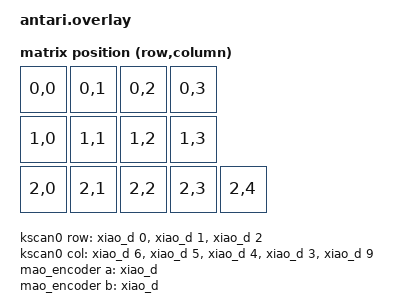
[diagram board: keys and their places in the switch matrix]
/*
 * Copyright (c) 2020 The ZMK Contributors
 *
 * SPDX-License-Identifier: MIT
 */

#include <dt-bindings/zmk/matrix_transform.h>
#include <dt-bindings/led/led.h>


/ {
	chosen {
		zmk,kscan = &kscan0;
		zmk,led-widgets-dev = &leds_i;
		zmk,matrix_transform = &default_transform;
	};


	default_transform: keymap_transform_0 {
		compatible = "zmk,matrix-transform";
		columns = <5>;
		rows = <3>;
	
		map = <
RC(0,0) RC(0,1) RC(0,2) RC(0,3)  
RC(1,0) RC(1,1) RC(1,2) RC(1,3)  
RC(2,0) RC(2,1) RC(2,2) RC(2,3) RC(2,4) 
		>;
	};

	kscan0: kscan_0 {
		compatible = "zmk,kscan-gpio-matrix";
		label = "KSCAN";
		diode-direction = "col2row";
		debounce-press-ms = <1>;
		debounce-release-ms = <5>;
		
		col-gpios
			= <&xiao_d 6 GPIO_ACTIVE_HIGH>
			, <&xiao_d 5 GPIO_ACTIVE_HIGH>
			, <&xiao_d 4 GPIO_ACTIVE_HIGH>
			, <&xiao_d 3 GPIO_ACTIVE_HIGH>
			, <&xiao_d 9 GPIO_ACTIVE_HIGH>
			;
		
		row-gpios
			= <&xiao_d 0 (GPIO_ACTIVE_HIGH | GPIO_PULL_DOWN)>
			, <&xiao_d 1 (GPIO_ACTIVE_HIGH | GPIO_PULL_DOWN)>
			, <&xiao_d 2 (GPIO_ACTIVE_HIGH | GPIO_PULL_DOWN)>
			;
	};
   mao_encoder: mao_encoder {
     compatible = "alps,ec11";
     label = "mao encoder";
     a-gpios = <&xiao_d 7(GPIO_ACTIVE_HIGH | GPIO_PULL_UP)>;
     b-gpios = <&xiao_d 8(GPIO_ACTIVE_HIGH | GPIO_PULL_UP)>;
     steps = <80>;
     status = "disabled";
   };


   sensors {
     compatible = "zmk,keymap-sensors";
     sensors = <&mao_encoder>;
     triggers-per-rotation = <20>;
   };
   leds_i: leds_i {
     compatible = "pwm-leds";
     label = "leds layers";
     blue_led: led_b {
       pwms = <&pwm0 26 PWM_MSEC(20) PWM_POLARITY_NORMAL>;
       label = "red";
     };
     green_led: led_g {
       pwms = <&pwm0 30 PWM_MSEC(20) PWM_POLARITY_NORMAL>;
       label = "green";
     };
     red_led: led_r {
       pwms = <&pwm0 6 PWM_MSEC(20) PWM_POLARITY_NORMAL>;
       label = "blue";
     };
   };
  led-widgets {
        compatible = "zmk,led-widgets";
        boot {
            boot {
                priority = <100>;
                blue { len-ms = <100>; brightness = <0 0 50>; };
                off { len-ms = <100>; };
                blue2 { len-ms = <100>; brightness = <0 0 50>; };
            };
        };
        layer {
            lower {
                arg = <1>;
                priority = <20>;
                stat { brightness = <20 0 20>; };
            };
            raise {
                arg = <2>;
                priority = <20>;
                stat { brightness = <0 20 0>; };
            };
            adjust {
                arg = <3>;
                priority = <20>;
                stat { brightness = <20 20 0>; };
            };
        };
   };
};

&pwm0 {
    status = "okay";
    ch0-pin = <26>;
    ch1-pin = <30>;
    ch2-pin = <6>;
    ch0-inverted;
    ch1-inverted;
    ch2-inverted;
};

&mao_encoder { 
  status = "okay"; 
};

&xiao_serial { 
  status = "disabled"; 
};
